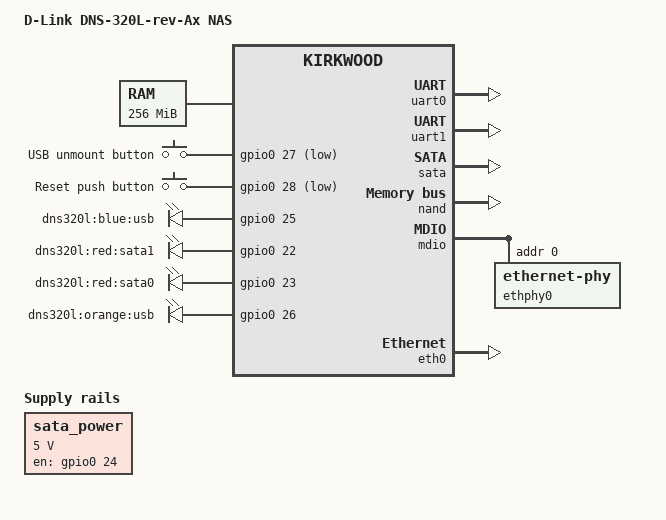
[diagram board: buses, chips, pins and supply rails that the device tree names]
// SPDX-License-Identifier: GPL-2.0-or-later
/*
 * Device Tree file for D-Link DNS-320L rev Ax
 *
 * Copyright (C) 2014, Andreas Boehler <dev@aboehler.at>
 * Adapted to Alt-F by Joao Cardoso
 * Ported to Linux 6.x for ShareOS
 *
 * The Weltrend MCU (fan, RTC, power LED, power-off, WOL) sits on
 * uart1 and is driven from userspace by dns320l-daemon.
 */

/dts-v1/;

#include <arm/marvell/kirkwood.dtsi>
#include <arm/marvell/kirkwood-6281.dtsi>
#include <dt-bindings/gpio/gpio.h>
#include <dt-bindings/input/input.h>

/ {
	model = "D-Link DNS-320L-rev-Ax NAS";
	compatible = "dlink,dns-320l-a", "dlink,dns-320l",
		     "marvell,kirkwood-88f6702", "marvell,kirkwood";

	memory@0 {
		device_type = "memory";
		reg = <0x00000000 0x10000000>;	/* 256 MB */
	};

	chosen {
		bootargs = "console=ttyS0,115200 root=/dev/ram0 init=/init earlyprintk";
		stdout-path = &uart0;
	};

	gpio-keys {
		compatible = "gpio-keys";
		pinctrl-0 = <&pmx_button_reset &pmx_button_usb_copy>;
		pinctrl-names = "default";

		button-usb {
			label = "USB unmount button";
			linux,code = <KEY_COPY>;
			gpios = <&gpio0 27 GPIO_ACTIVE_LOW>;
		};

		button-reset {
			label = "Reset push button";
			linux,code = <KEY_RESTART>;
			gpios = <&gpio0 28 GPIO_ACTIVE_LOW>;
		};

		/*
		 * The power button (mpp29) does not raise an interrupt and is
		 * already low at boot, so it is polled from userspace
		 * (see /usr/sbin/shareos-board), as Alt-F did.
		 */
	};

	gpio-leds {
		compatible = "gpio-leds";
		pinctrl-0 = <&pmx_led_usb_blue &pmx_led_usb_orange
			     &pmx_led_red_left_hdd &pmx_led_red_right_hdd>;
		pinctrl-names = "default";

		led-usb-blue {
			label = "dns320l:blue:usb";
			gpios = <&gpio0 25 GPIO_ACTIVE_HIGH>;
		};

		led-sata1 {
			label = "dns320l:red:sata1";
			gpios = <&gpio0 22 GPIO_ACTIVE_HIGH>;
		};

		led-sata0 {
			label = "dns320l:red:sata0";
			gpios = <&gpio0 23 GPIO_ACTIVE_HIGH>;
		};

		led-usb-orange {
			label = "dns320l:orange:usb";
			gpios = <&gpio0 26 GPIO_ACTIVE_HIGH>;
		};
	};

	sata_power: regulator-sata-power {
		compatible = "regulator-fixed";
		pinctrl-0 = <&pmx_power_sata>;
		pinctrl-names = "default";
		regulator-name = "SATA Power";
		regulator-min-microvolt = <5000000>;
		regulator-max-microvolt = <5000000>;
		enable-active-high;
		regulator-always-on;
		regulator-boot-on;
		/* mpp24 -> gpio0 line 24 (Alt-F had &gpio1 24, which is not mpp24) */
		gpio = <&gpio0 24 GPIO_ACTIVE_HIGH>;
	};
};

&pinctrl {
	pmx_led_red_right_hdd: pmx-led-red-right-hdd {
		marvell,pins = "mpp22";
		marvell,function = "gpio";
	};

	pmx_led_red_left_hdd: pmx-led-red-left-hdd {
		marvell,pins = "mpp23";
		marvell,function = "gpio";
	};

	pmx_power_sata: pmx-power-sata {
		marvell,pins = "mpp24";
		marvell,function = "gpio";
	};

	pmx_led_usb_blue: pmx-led-usb-blue {
		marvell,pins = "mpp25";
		marvell,function = "gpio";
	};

	pmx_led_usb_orange: pmx-led-usb-orange {
		marvell,pins = "mpp26";
		marvell,function = "gpio";
	};

	pmx_button_usb_copy: pmx-button-usb-copy {
		marvell,pins = "mpp27";
		marvell,function = "gpio";
	};

	pmx_button_reset: pmx-button-reset {
		marvell,pins = "mpp28";
		marvell,function = "gpio";
	};

	pmx_button_power: pmx-button-power {
		marvell,pins = "mpp29";
		marvell,function = "gpio";
	};
};

&uart0 {
	status = "okay";
};

&uart1 {
	/* Weltrend MCU */
	pinctrl-0 = <&pmx_uart1>;
	pinctrl-names = "default";
	status = "okay";
};

&sata {
	status = "okay";
	nr-ports = <2>;
};

&nand {
	pinctrl-0 = <&pmx_nand>;
	pinctrl-names = "default";
	status = "okay";
	chip-delay = <40>;

	partitions {
		compatible = "fixed-partitions";
		#address-cells = <1>;
		#size-cells = <1>;

		partition@0 {
			label = "u-boot";
			reg = <0x0000000 0x100000>;
			read-only;
		};

		partition@100000 {
			label = "uImage";
			reg = <0x0100000 0x500000>;
		};

		partition@600000 {
			label = "ramdisk";
			reg = <0x0600000 0x500000>;
		};

		partition@b00000 {
			label = "image";
			reg = <0x0b00000 0x6400000>;
		};

		partition@6f00000 {
			label = "mini firmware";
			reg = <0x6f00000 0xa00000>;
		};

		partition@7900000 {
			label = "config";
			reg = <0x7900000 0x500000>;
		};

		partition@7e00000 {
			label = "my-dlink";
			reg = <0x7e00000 0x200000>;
		};
	};
};

&mdio {
	status = "okay";

	ethphy0: ethernet-phy@0 {
		reg = <0>;
	};
};

&eth0 {
	status = "okay";

	ethernet0-port@0 {
		phy-handle = <&ethphy0>;
	};
};
